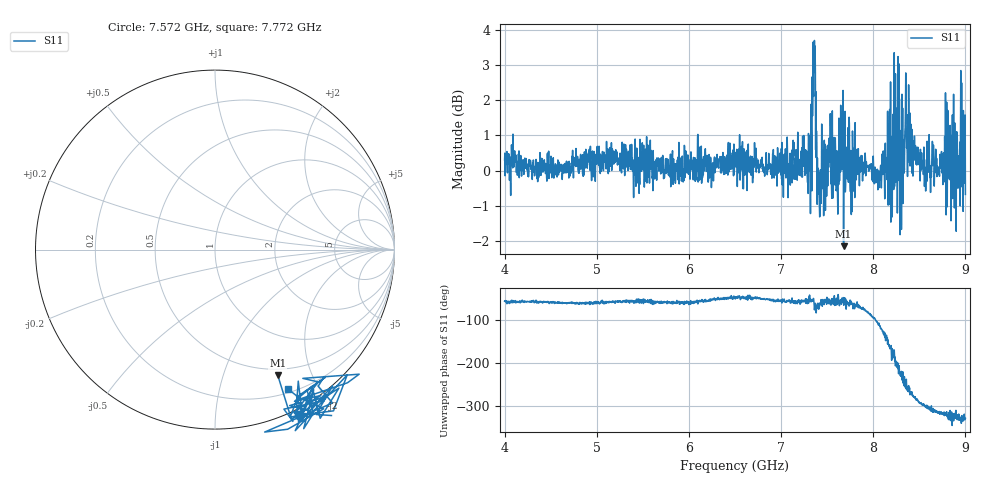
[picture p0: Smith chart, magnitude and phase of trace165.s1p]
! Created with skrf 1.8.0 (http://scikit-rf.org).
# Hz S RI R 50.0
!freq ReS11 ImS11
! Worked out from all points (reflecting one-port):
!   1601 points, 4 GHz to 9 GHz, reference 50 ohm
!   lowest |S11| = -2.1 dB at 7.678 GHz (marker M1), VSWR 8.18, Z = 21.3 - j76.7 ohm
!   phase of S11 starts at -56 deg and turns -272 deg over the sweep
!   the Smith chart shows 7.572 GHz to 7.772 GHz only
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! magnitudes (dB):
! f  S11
! 4 GHz  0.3
! 4.625 GHz  -0.2
! 5.25 GHz  0.0
! 5.875 GHz  0.3
! 6.5 GHz  0.5
! 7.125 GHz  0.6
! 7.297 GHz  1.1
! 7.319 GHz  -1.2
! 7.347 GHz  3.6
! 7.362 GHz  3.7
! 7.412 GHz  -0.6
! 7.512 GHz  0.4
! 7.619 GHz  0.5
! 7.65 GHz  0.1
! 7.678 GHz  -2.1
! 7.75 GHz  -0.4
! 8.066 GHz  -0.1
! 8.162 GHz  -1.0
! 8.184 GHz  -1.0
! 8.253 GHz  0.2
! 8.312 GHz  2.2
! 8.334 GHz  0.2
! 8.375 GHz  0.9
! 8.556 GHz  -0.4
! 8.809 GHz  1.7
! 8.919 GHz  -0.5
! 8.972 GHz  0.6
! 9 GHz  -0.7
